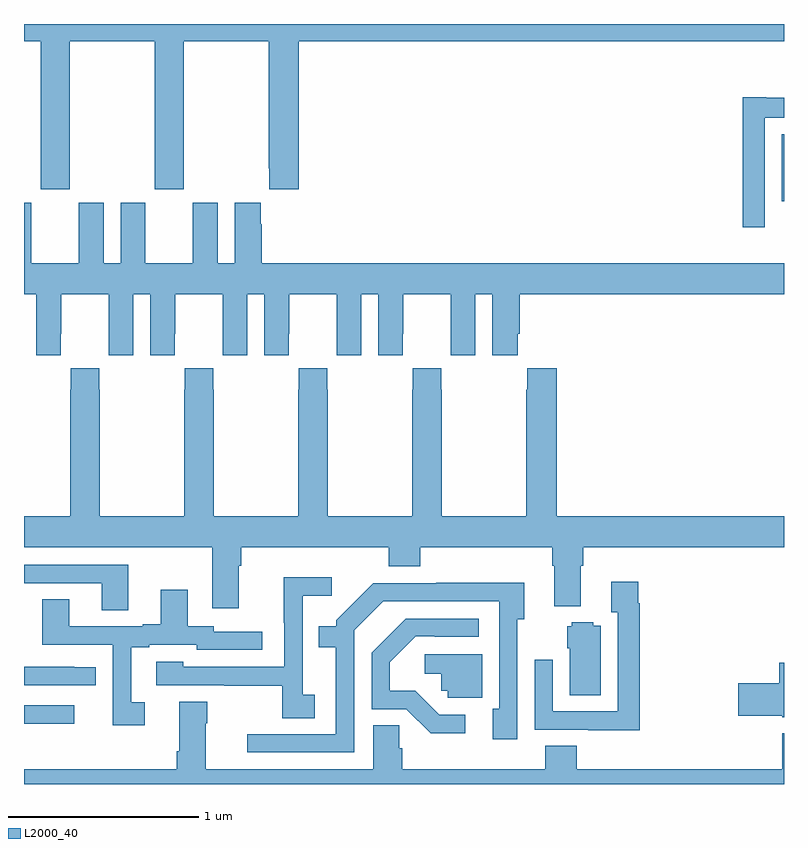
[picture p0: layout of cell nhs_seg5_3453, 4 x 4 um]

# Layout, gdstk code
import gdstk
lib = gdstk.Library(unit=1e-6, precision=1e-09)
def R(c, l, rs):  # rectangles x0, y0, x1, y1
    for r in rs: c.add(gdstk.rectangle(r[:2], r[2:], *l))
def P(c, l, *ps):  # polygons
    for p in ps: c.add(gdstk.Polygon(p, *l))
L2000_40 = (2000, 40)

nhs_seg5_3453 = lib.new_cell('nhs_seg5_3453')
R(nhs_seg5_3453, L2000_40, [(313,905.116,313.264,905.214), (316.988,907.866,317,908.218)])
P(nhs_seg5_3453, L2000_40, [(313.242,908.708),(313.687,908.708),(313.687,907.929),(313.842,907.929),(313.842,908.708),(314.287,908.708),(314.287,908.041),(314.291,908.041),(314.291,907.929),(314.447,907.929),(314.447,908.708),(317,908.708),(317,908.799),(313,908.799),(313,908.708),(313.087,908.708),(313.087,907.929),(313.242,907.929)],
  [(316.899,908.306),(317,908.306),(317,908.41),(316.906,908.41),(316.906,908.413),(316.783,908.413),(316.783,907.728),(316.899,907.728)],
  [(313.194,907.168),(313.195,907.168),(313.195,907.376),(313.445,907.376),(313.445,907.168),(313.446,907.168),(313.446,907.056),(313.576,907.056),(313.576,907.376),(313.664,907.376),(313.664,907.056),(313.794,907.056),(313.794,907.168),(313.795,907.168),(313.795,907.376),(314.045,907.376),(314.045,907.168),(314.046,907.168),(314.046,907.056),(314.176,907.056),(314.176,907.376),(314.264,907.376),(314.264,907.056),(314.394,907.056),(314.394,907.168),(314.395,907.168),(314.395,907.376),(314.645,907.376),(314.645,907.168),(314.646,907.168),(314.646,907.056),(314.776,907.056),(314.776,907.376),(314.864,907.376),(314.864,907.056),(314.994,907.056),(314.994,907.168),(314.995,907.168),(314.995,907.376),(315.245,907.376),(315.245,907.168),(315.246,907.168),(315.246,907.056),(315.376,907.056),(315.376,907.376),(315.464,907.376),(315.464,907.056),(315.598,907.056),(315.598,907.168),(315.608,907.168),(315.608,907.376),(317,907.376),(317,907.54),(314.252,907.54),(314.252,907.745),(314.245,907.745),(314.245,907.858),(314.108,907.858),(314.108,907.54),(314.02,907.54),(314.02,907.858),(313.889,907.858),(313.889,907.54),(313.639,907.54),(313.639,907.858),(313.508,907.858),(313.508,907.54),(313.42,907.54),(313.42,907.858),(313.289,907.858),(313.289,907.54),(313.039,907.54),(313.039,907.858),(313,907.858),(313,907.376),(313.064,907.376),(313.064,907.056),(313.194,907.056)],
  [(314.131,905.948),(314.144,905.948),(314.144,906.044),(314.921,906.044),(314.921,905.945),(315.086,905.945),(315.086,906.044),(315.779,906.044),(315.779,905.948),(315.791,905.948),(315.791,905.735),(315.931,905.735),(315.931,905.948),(315.944,905.948),(315.944,906.044),(317,906.044),(317,906.208),(315.803,906.208),(315.803,906.988),(315.649,906.988),(315.649,906.875),(315.643,906.875),(315.643,906.208),(315.198,906.208),(315.198,906.875),(315.195,906.875),(315.195,906.988),(315.045,906.988),(315.045,906.875),(315.043,906.875),(315.043,906.208),(314.598,906.208),(314.598,906.875),(314.595,906.875),(314.595,906.988),(314.445,906.988),(314.445,906.875),(314.443,906.875),(314.443,906.208),(313.998,906.208),(313.998,906.875),(313.995,906.875),(313.995,906.988),(313.845,906.988),(313.845,906.875),(313.843,906.875),(313.843,906.208),(313.398,906.208),(313.398,906.875),(313.395,906.875),(313.395,906.988),(313.245,906.988),(313.245,906.875),(313.243,906.875),(313.243,906.208),(313,906.208),(313,906.044),(313.991,906.044),(313.991,905.724),(314.131,905.724)],
  [(313.549,905.952),(313,905.952),(313,905.856),(313.409,905.856),(313.409,905.713),(313.549,905.713)],
  [(314.53,905.268),(314.466,905.268),(314.466,905.789),(314.62,905.789),(314.62,905.887),(314.368,905.887),(314.368,905.648),(314.37,905.648),(314.37,905.415),(313.839,905.415),(313.839,905.443),(313.695,905.443),(313.695,905.319),(314.053,905.319),(314.053,905.317),(314.358,905.317),(314.358,905.146),(314.53,905.146)],
  [(316.241,905.75),(316.234,905.75),(316.234,905.863),(316.091,905.863),(316.091,905.702),(316.125,905.702),(316.125,905.181),(315.783,905.181),(315.783,905.452),(315.687,905.452),(315.687,905.085),(315.971,905.085),(315.971,905.081),(316.241,905.081)],
  [(314.739,905.607),(314.892,905.76),(315.501,905.76),(315.501,905.194),(315.467,905.194),(315.467,905.034),(315.597,905.034),(315.597,905.666),(315.634,905.666),(315.634,905.858),(315.169,905.858),(315.169,905.856),(314.838,905.856),(314.643,905.661),(314.643,905.629),(314.551,905.629),(314.551,905.52),(314.642,905.52),(314.642,905.061),(314.175,905.061),(314.175,904.965),(314.739,904.965)],
  [(313.636,905.229),(313.564,905.229),(313.564,905.52),(313.66,905.52),(313.66,905.532),(313.908,905.532),(313.908,905.505),(314.254,905.505),(314.254,905.601),(313.998,905.601),(313.998,905.628),(313.861,905.628),(313.861,905.821),(313.721,905.821),(313.721,905.641),(313.625,905.641),(313.625,905.628),(313.237,905.628),(313.237,905.771),(313.097,905.771),(313.097,905.532),(313.467,905.532),(313.467,905.109),(313.636,905.109)],
  [(315.322,905.163),(315.186,905.163),(315.059,905.29),(314.926,905.29),(314.926,905.44),(315.063,905.577),(315.163,905.577),(315.163,905.574),(315.394,905.574),(315.394,905.67),(315.008,905.67),(314.829,905.491),(314.829,905.193),(315.012,905.193),(315.14,905.066),(315.322,905.066)],
  [(316.036,905.632),(315.996,905.632),(315.996,905.65),(315.882,905.65),(315.882,905.628),(315.86,905.628),(315.86,905.514),(315.872,905.514),(315.872,905.266),(316.036,905.266)],
  [(315.412,905.481),(315.108,905.481),(315.108,905.378),(315.195,905.378),(315.195,905.289),(315.231,905.289),(315.231,905.253),(315.412,905.253)],
  [(317,905.437),(316.976,905.437),(316.976,905.33),(316.758,905.33),(316.758,905.159),(316.992,905.159),(316.992,905.15),(317,905.15)],
  [(313.378,905.414),(313.265,905.414),(313.265,905.415),(313,905.415),(313,905.319),(313.378,905.319)],
  [(317,905.065),(316.991,905.065),(316.991,904.876),(315.908,904.876),(315.908,905),(315.743,905),(315.743,904.876),(314.99,904.876),(314.99,904.986),(314.975,904.986),(314.975,905.108),(314.837,905.108),(314.837,904.876),(313.957,904.876),(313.957,905.12),(313.965,905.12),(313.965,905.233),(313.817,905.233),(313.817,904.972),(313.805,904.972),(313.805,904.876),(313,904.876),(313,904.799),(317,904.799)])

lib.write_gds('nhs_seg5_3453.gds')
